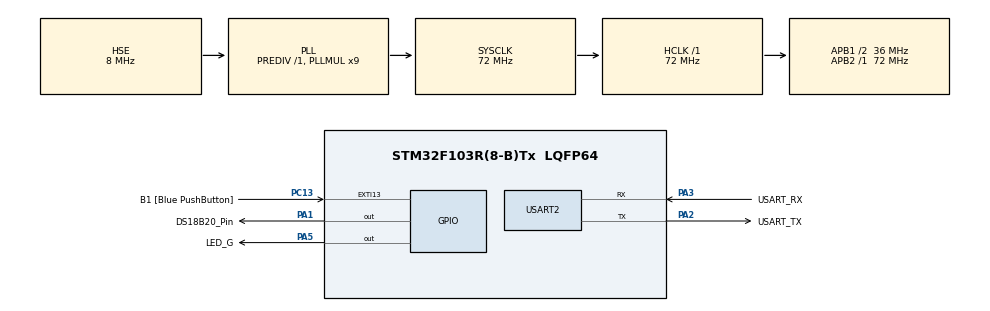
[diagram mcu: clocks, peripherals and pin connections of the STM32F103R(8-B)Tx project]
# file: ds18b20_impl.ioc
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Mcu.Family=STM32F1
Mcu.Name=STM32F103R(8-B)Tx
Mcu.Package=LQFP64
NVIC.EXTI15_10_IRQn=true\:0\:0\:false\:false\:true\:true\:true\:true
NVIC.PriorityGroup=NVIC_PRIORITYGROUP_4
PA1.GPIO_Label=DS18B20_Pin
PA1.GPIO_ModeDefaultOutputPP=GPIO_MODE_OUTPUT_OD
PA1.GPIO_PuPd=GPIO_NOPULL
PA1.Signal=GPIO_Output
PA13.GPIO_Label=TMS
PA13.Mode=Trace_Asynchronous_SW
PA13.Signal=SYS_JTMS-SWDIO
PA14.GPIO_Label=TCK
PA14.Mode=Trace_Asynchronous_SW
PA14.Signal=SYS_JTCK-SWCLK
PA2.GPIO_Label=USART_TX
PA2.GPIO_Mode=GPIO_MODE_AF_PP
PA2.GPIO_PuPd=GPIO_NOPULL
PA2.GPIO_Speed=GPIO_SPEED_FREQ_LOW
PA2.Mode=Asynchronous
PA2.Signal=USART2_TX
PA3.GPIO_Label=USART_RX
PA3.GPIO_Mode=GPIO_MODE_AF_PP
PA3.GPIO_PuPd=GPIO_NOPULL
PA3.GPIO_Speed=GPIO_SPEED_FREQ_LOW
PA3.Mode=Asynchronous
PA3.Signal=USART2_RX
PA5.GPIO_Label=LED_G
PA5.Signal=GPIO_Output
PB3.GPIO_Label=SWO
PB3.Mode=Trace_Asynchronous_SW
PB3.Signal=SYS_JTDO-TRACESWO
PC13-TAMPER-RTC.GPIO_Label=B1 [Blue PushButton]
PC13-TAMPER-RTC.GPIO_PuPd=GPIO_NOPULL
PC13-TAMPER-RTC.Signal=GPXTI13
PC14-OSC32_IN.Mode=LSE-External-Oscillator
PC14-OSC32_IN.Signal=RCC_OSC32_IN
PC15-OSC32_OUT.Mode=LSE-External-Oscillator
PC15-OSC32_OUT.Signal=RCC_OSC32_OUT
PD0-OSC_IN.Mode=HSE-External-Clock-Source
PD0-OSC_IN.Signal=RCC_OSC_IN
PD1-OSC_OUT.Mode=HSE-External-Clock-Source
PD1-OSC_OUT.Signal=RCC_OSC_OUT
ProjectManager.HeapSize=0x200
ProjectManager.StackSize=0x400
ProjectManager.TargetToolchain=CMake
RCC.ADCPresc=RCC_ADCPCLK2_DIV6
RCC.AHBFreq_Value=72000000
RCC.APB1CLKDivider=RCC_HCLK_DIV2
RCC.APB1Freq_Value=36000000
RCC.APB1TimFreq_Value=72000000
RCC.APB2Freq_Value=72000000
RCC.APB2TimFreq_Value=72000000
RCC.HCLKFreq_Value=72000000
RCC.PLLMUL=RCC_PLL_MUL9
RCC.PLLSourceVirtual=RCC_PLLSOURCE_HSE
RCC.RTCClockSelection=RCC_RTCCLKSOURCE_LSE
RCC.SYSCLKFreq_VALUE=72000000
RCC.SYSCLKSource=RCC_SYSCLKSOURCE_PLLCLK
RCC.USBFreq_Value=72000000
TIM1.Prescaler=72-1
USART2.VirtualMode=VM_ASYNC
VP_TIM1_VS_ClockSourceINT.Mode=Internal
board=NUCLEO-F103RB

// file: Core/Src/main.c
/* USER CODE BEGIN Header */
/**
 ******************************************************************************
 * @file           : main.c
 * @brief          : Main program body
 ******************************************************************************
 * @attention
 *
 * Copyright (c) 2026 STMicroelectronics.
 * All rights reserved.
 *
 * This software is licensed under terms that can be found in the LICENSE file
 * in the root directory of this software component.
 * If no LICENSE file comes with this software, it is provided AS-IS.
 *
 ******************************************************************************
 */
/* USER CODE END Header */
#include "main.h"

/* USER CODE BEGIN Includes */
#include "ds18b20.h"
#include "ow.h"
#include "stdio.h"
#include "string.h"

/* USER CODE END Includes */

TIM_HandleTypeDef htim1;

UART_HandleTypeDef huart2;

ds18b20_t ds18;

void SystemClock_Config(void);
static void MX_GPIO_Init(void);
static void MX_USART2_UART_Init(void);
static void MX_TIM1_Init(void);
/* USER CODE BEGIN PFP */
void ds18_tim_cb(TIM_HandleTypeDef *htim) { ow_callback(&ds18.ow); }
/* USER CODE END PFP */

int main(void) {

  /* MCU Configuration--------------------------------------------------------*/

  /* Reset of all peripherals, Initializes the Flash interface and the Systick.
   */
  HAL_Init();

  /* Configure the system clock */
  SystemClock_Config();

  /* Initialize all configured peripherals */
  MX_GPIO_Init();
  MX_USART2_UART_Init();
  MX_TIM1_Init();
  /* USER CODE BEGIN 2 */
  ow_init_t ow_init_struct;
  ow_init_struct.tim_handle = &htim1;
  ow_init_struct.gpio = GPIOC;
  ow_init_struct.pin = GPIO_PIN_8;
  ow_init_struct.tim_cb = ds18_tim_cb;

  ow_init(&ds18.ow, &ow_init_struct);

  /* USER CODE END 2 */

  /* Infinite loop */
  while (1) {

    /* USER CODE BEGIN 3 */
    uint8_t data[16];
    ow_update_rom_id(&ds18.ow);
    while (ow_is_busy(&ds18.ow))
      ;
    HAL_Delay(10);
    while (ow_is_busy(&ds18.ow))
      ;
    ow_read_resp(&ds18.ow, data, 16);
    HAL_Delay(1000);
    HAL_GPIO_TogglePin(LED_G_GPIO_Port, LED_G_Pin);
  }
  /* USER CODE END 3 */
}

void SystemClock_Config(void) {
  RCC_OscInitTypeDef RCC_OscInitStruct = {0};
  RCC_ClkInitTypeDef RCC_ClkInitStruct = {0};

  /** Initializes the RCC Oscillators according to the specified parameters
   * in the RCC_OscInitTypeDef structure.
   */
  RCC_OscInitStruct.OscillatorType = RCC_OSCILLATORTYPE_HSE;
  RCC_OscInitStruct.HSEState = RCC_HSE_BYPASS;
  RCC_OscInitStruct.HSEPredivValue = RCC_HSE_PREDIV_DIV1;
  RCC_OscInitStruct.HSIState = RCC_HSI_ON;
  RCC_OscInitStruct.PLL.PLLState = RCC_PLL_ON;
  RCC_OscInitStruct.PLL.PLLSource = RCC_PLLSOURCE_HSE;
  RCC_OscInitStruct.PLL.PLLMUL = RCC_PLL_MUL9;
  if (HAL_RCC_OscConfig(&RCC_OscInitStruct) != HAL_OK) {
    Error_Handler();
  }

  /** Initializes the CPU, AHB and APB buses clocks
   */
  RCC_ClkInitStruct.ClockType = RCC_CLOCKTYPE_HCLK | RCC_CLOCKTYPE_SYSCLK |
                                RCC_CLOCKTYPE_PCLK1 | RCC_CLOCKTYPE_PCLK2;
  RCC_ClkInitStruct.SYSCLKSource = RCC_SYSCLKSOURCE_PLLCLK;
  RCC_ClkInitStruct.AHBCLKDivider = RCC_SYSCLK_DIV1;
  RCC_ClkInitStruct.APB1CLKDivider = RCC_HCLK_DIV2;
  RCC_ClkInitStruct.APB2CLKDivider = RCC_HCLK_DIV1;

  if (HAL_RCC_ClockConfig(&RCC_ClkInitStruct, FLASH_LATENCY_2) != HAL_OK) {
    Error_Handler();
  }
}

static void MX_TIM1_Init(void) {

  TIM_ClockConfigTypeDef sClockSourceConfig = {0};
  TIM_MasterConfigTypeDef sMasterConfig = {0};

  htim1.Instance = TIM1;
  htim1.Init.Prescaler = 72 - 1;
  htim1.Init.CounterMode = TIM_COUNTERMODE_UP;
  htim1.Init.Period = 65535;
  htim1.Init.ClockDivision = TIM_CLOCKDIVISION_DIV1;
  htim1.Init.RepetitionCounter = 0;
  htim1.Init.AutoReloadPreload = TIM_AUTORELOAD_PRELOAD_DISABLE;
  if (HAL_TIM_Base_Init(&htim1) != HAL_OK) {
    Error_Handler();
  }
  sClockSourceConfig.ClockSource = TIM_CLOCKSOURCE_INTERNAL;
  if (HAL_TIM_ConfigClockSource(&htim1, &sClockSourceConfig) != HAL_OK) {
    Error_Handler();
  }
  sMasterConfig.MasterOutputTrigger = TIM_TRGO_RESET;
  sMasterConfig.MasterSlaveMode = TIM_MASTERSLAVEMODE_DISABLE;
  if (HAL_TIMEx_MasterConfigSynchronization(&htim1, &sMasterConfig) != HAL_OK) {
    Error_Handler();
  }
}

static void MX_USART2_UART_Init(void) {

  huart2.Instance = USART2;
  huart2.Init.BaudRate = 115200;
  huart2.Init.WordLength = UART_WORDLENGTH_8B;
  huart2.Init.StopBits = UART_STOPBITS_1;
  huart2.Init.Parity = UART_PARITY_NONE;
  huart2.Init.Mode = UART_MODE_TX_RX;
  huart2.Init.HwFlowCtl = UART_HWCONTROL_NONE;
  huart2.Init.OverSampling = UART_OVERSAMPLING_16;
  if (HAL_UART_Init(&huart2) != HAL_OK) {
    Error_Handler();
  }
}

static void MX_GPIO_Init(void) {
  GPIO_InitTypeDef GPIO_InitStruct = {0};

  /* GPIO Ports Clock Enable */
  __HAL_RCC_GPIOC_CLK_ENABLE();
  __HAL_RCC_GPIOD_CLK_ENABLE();
  __HAL_RCC_GPIOA_CLK_ENABLE();
  __HAL_RCC_GPIOB_CLK_ENABLE();

  /*Configure GPIO pin Output Level */
  HAL_GPIO_WritePin(GPIOA, DS18B20_Pin_Pin | LED_G_Pin, GPIO_PIN_RESET);

  /*Configure GPIO pin : B1_Pin */
  GPIO_InitStruct.Pin = B1_Pin;
  GPIO_InitStruct.Mode = GPIO_MODE_IT_RISING;
  GPIO_InitStruct.Pull = GPIO_NOPULL;
  HAL_GPIO_Init(B1_GPIO_Port, &GPIO_InitStruct);

  /*Configure GPIO pin : DS18B20_Pin_Pin */
  GPIO_InitStruct.Pin = DS18B20_Pin_Pin;
  GPIO_InitStruct.Mode = GPIO_MODE_OUTPUT_OD;
  GPIO_InitStruct.Pull = GPIO_NOPULL;
  GPIO_InitStruct.Speed = GPIO_SPEED_FREQ_LOW;
  HAL_GPIO_Init(DS18B20_Pin_GPIO_Port, &GPIO_InitStruct);

  /*Configure GPIO pin : LED_G_Pin */
  GPIO_InitStruct.Pin = LED_G_Pin;
  GPIO_InitStruct.Mode = GPIO_MODE_OUTPUT_PP;
  GPIO_InitStruct.Pull = GPIO_NOPULL;
  GPIO_InitStruct.Speed = GPIO_SPEED_FREQ_LOW;
  HAL_GPIO_Init(LED_G_GPIO_Port, &GPIO_InitStruct);

  /* EXTI interrupt init*/
  HAL_NVIC_SetPriority(EXTI15_10_IRQn, 0, 0);
  HAL_NVIC_EnableIRQ(EXTI15_10_IRQn);

}

void Error_Handler(void) {
  __disable_irq();
  while (1) {
  }
}
#ifdef USE_FULL_ASSERT
/**
 * @brief  Reports the name of the source file and the source line number
 *         where the assert_param error has occurred.
 * @param  file: pointer to the source file name
 * @param  line: assert_param error line source number
 * @retval None
 */
void assert_failed(uint8_t *file, uint32_t line) {
  /* USER CODE BEGIN 6 */
  /* User can add his own implementation to report the file name and line
     number, ex: printf("Wrong parameters value: file %s on line %d\r\n", file,
     line) */
  /* USER CODE END 6 */
}
#endif /* USE_FULL_ASSERT */
